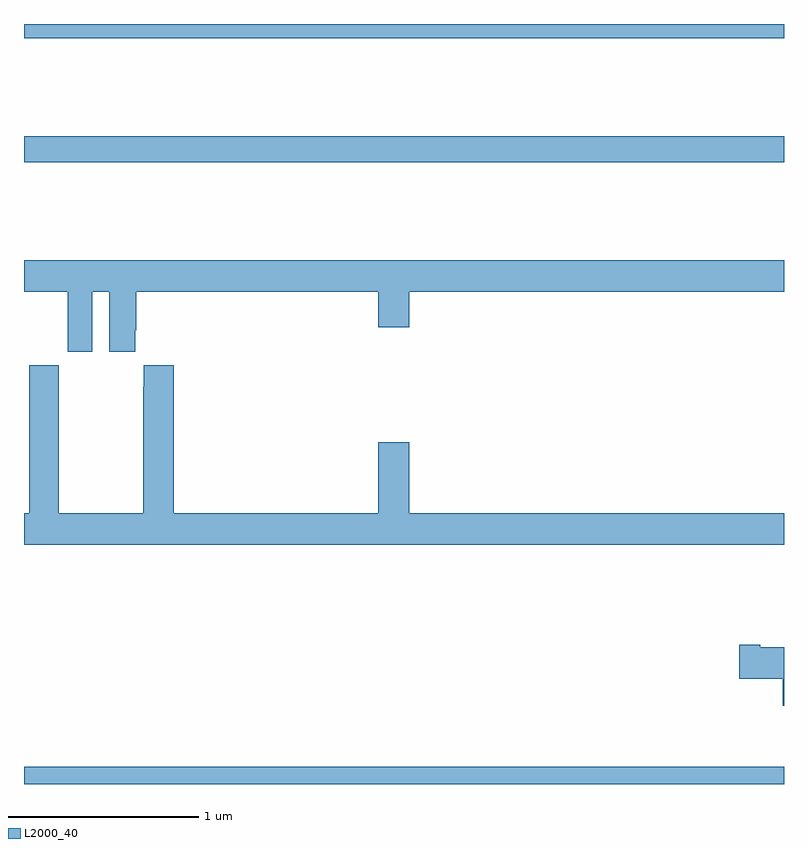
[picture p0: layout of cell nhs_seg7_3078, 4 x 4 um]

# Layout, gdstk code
import gdstk
lib = gdstk.Library(unit=1e-6, precision=1e-09)
def R(c, l, rs):  # rectangles x0, y0, x1, y1
    for r in rs: c.add(gdstk.rectangle(r[:2], r[2:], *l))
def P(c, l, *ps):  # polygons
    for p in ps: c.add(gdstk.Polygon(p, *l))
L2000_40 = (2000, 40)

nhs_seg7_3078 = lib.new_cell('nhs_seg7_3078')
R(nhs_seg7_3078, L2000_40, [(307,1022,311,1022.092), (307,1025.272,311,1025.408), (307,1025.924,311,1026)])
P(nhs_seg7_3078, L2000_40, [(307.36,1024.592),(307.448,1024.592),(307.448,1024.275),(307.585,1024.275),(307.585,1024.387),(307.592,1024.387),(307.592,1024.592),(308.864,1024.592),(308.864,1024.404),(309.028,1024.404),(309.028,1024.592),(311,1024.592),(311,1024.756),(307,1024.756),(307,1024.592),(307.229,1024.592),(307.229,1024.275),(307.36,1024.275)],
  [(311,1023.424),(309.028,1023.424),(309.028,1023.799),(308.864,1023.799),(308.864,1023.424),(307.787,1023.424),(307.787,1024.204),(307.631,1024.204),(307.631,1024.091),(307.627,1024.091),(307.627,1023.424),(307.182,1023.424),(307.182,1024.204),(307.027,1024.204),(307.027,1023.424),(307,1023.424),(307,1023.26),(311,1023.26)],
  [(311,1022.719),(310.876,1022.719),(310.876,1022.732),(310.764,1022.732),(310.764,1022.554),(310.994,1022.554),(310.994,1022.412),(311,1022.412)])

lib.write_gds('nhs_seg7_3078.gds')
